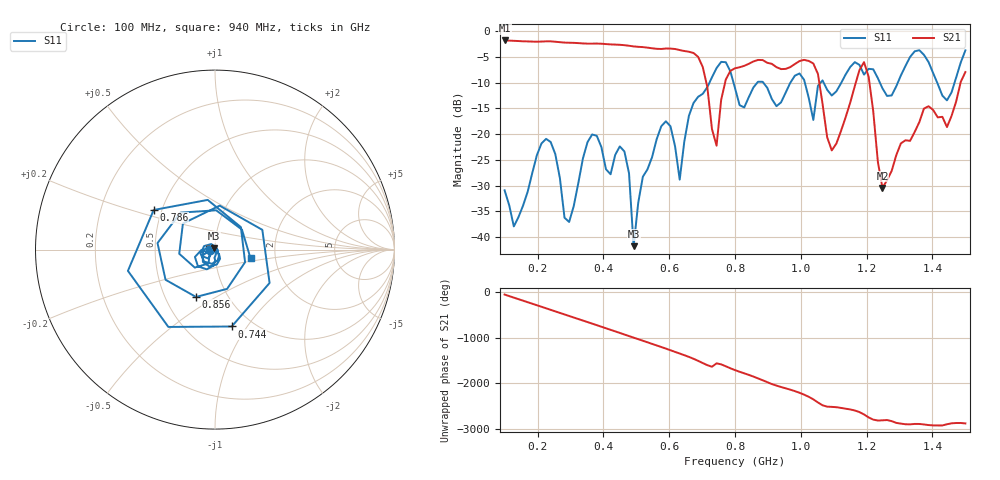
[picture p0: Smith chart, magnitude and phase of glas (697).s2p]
! NanoVNA-App
! Date: 2025-09-25 16:00:54
! Start: 100MHz Stop: 1,5GHz Points: 101
! S-Parameter data: F S11 S21 S12 S22
# Hz S RI R 50
!  Frequency  S11_Real  S11_Imag  S21_Real  S21_Imag  S12_Real  S12_Imag  S22_Real  S22_Imag
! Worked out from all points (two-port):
!   101 points, 100 MHz to 1.5 GHz, reference 50 ohm
!   highest |S21| = -1.80 dB at 100 MHz (marker M1); lowest = -30.5 dB at 1.248 GHz (marker M2)
!   |S21| within 3 dB of the highest: start of sweep to 684.4 MHz
!   lowest |S11| = -41.8 dB at 492 MHz (marker M3), VSWR 1.02, Z = 49.5 + j0.621 ohm
!   |S11| at or under -10 dB: start of sweep to 722.4 MHz; 795.4 MHz to 867.7 MHz (72.31 MHz wide, 8.7 % of centre); 886 MHz to 968.2 MHz (82.22 MHz wide, 8.87 % of centre)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
!   S12 and S22 are empty: the file has one direction only
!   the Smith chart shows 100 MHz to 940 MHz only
!   S11 on the Smith chart (normalised r, x): 100 MHz: 0.94, -0.01; 744 MHz: 0.80, -0.85; 786 MHz: 0.45, +0.24; 856 MHz: 0.71, -0.41; 940 MHz: 1.48, -0.15
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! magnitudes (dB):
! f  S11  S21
! 100 MHz  -30.9  -1.8
! 128 MHz  -37.9  -1.9
! 226 MHz  -20.9  -2.0
! 296 MHz  -37.1  -2.2
! 338 MHz  -24.7  -2.4
! 464 MHz  -23.4  -2.7
! 492 MHz  -41.8  -3.0
! 576 MHz  -18.5  -3.5
! 632 MHz  -28.9  -3.7
! 702 MHz  -12.2  -7.0
! 744 MHz  -7.2  -22.3
! 786 MHz  -7.8  -7.7
! 800 MHz  -11.1  -7.2
! 856 MHz  -10.9  -5.9
! 940 MHz  -13.8  -7.4
! 996 MHz  -8.2  -5.8
! 1.038 GHz  -17.3  -6.3
! 1.094 GHz  -12.5  -23.2
! 1.192 GHz  -8.4  -6.0
! 1.248 GHz  -11.1  -30.5
! 1.276 GHz  -12.5  -27.2
! 1.5 GHz  -3.7  -7.9
